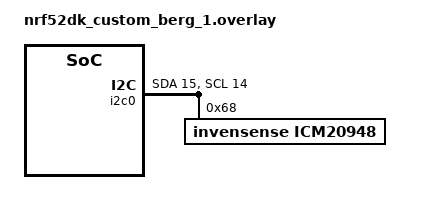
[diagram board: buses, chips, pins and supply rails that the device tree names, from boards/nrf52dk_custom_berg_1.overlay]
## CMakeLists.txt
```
# SPDX-License-Identifier: Apache-2.0

cmake_minimum_required(VERSION 3.13.1)
find_package(Zephyr REQUIRED HINTS $ENV{ZEPHYR_BASE})
project(NONE)

target_sources(app PRIVATE src/main.c)
```

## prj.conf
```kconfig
CONFIG_GPIO=y
CONFIG_CLOCK_CONTROL_NRF_K32SRC_RC=y

CONFIG_I2C=y
CONFIG_SENSOR=y
CONFIG_SENSOR_LOG_LEVEL_DBG=n
CONFIG_ICM20948=y
CONFIG_LOG=y

# choose RTT console
CONFIG_UART_CONSOLE=n
CONFIG_USE_SEGGER_RTT=y
CONFIG_RTT_CONSOLE=y
```

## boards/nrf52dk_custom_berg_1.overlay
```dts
arduino_i2c: &i2c0 {
	compatible = "nordic,nrf-twi";
	status = "okay";
	sda-pin = <15>;
	scl-pin = <14>;
        icm20948@68 {
		compatible = "invensense,icm20948";
		reg = <0x68>;
		label = "ICM20948";
		//alert-gpios = <&gpio1 10 GPIO_ACTIVE_HIGH>;
	};
};
```

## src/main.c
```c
#include <zephyr.h>
#include <device.h>
#include <devicetree.h>
#include <drivers/gpio.h>
#include <drivers/sensor.h>

/* 1000 msec = 1 sec */
#define SLEEP_TIME_MS   1000

/* The devicetree node identifier for the "led0" alias. */
#define LED0_NODE DT_ALIAS(led0)

#if DT_NODE_HAS_STATUS(LED0_NODE, okay)
#define LED0	DT_GPIO_LABEL(LED0_NODE, gpios)
#define PIN	DT_GPIO_PIN(LED0_NODE, gpios)
#define FLAGS	DT_GPIO_FLAGS(LED0_NODE, gpios)
#else
/* A build error here means your board isn't set up to blink an LED. */
#error "Unsupported board: led0 devicetree alias is not defined"
#define LED0	""
#define PIN	0
#define FLAGS	0
#endif

void main(void)
{
	const struct device *dev, *dev2;
	bool led_is_on = false;
	int ret;
        const char *const label = DT_LABEL(DT_INST(0, invensense_icm20948));

	dev = device_get_binding(LED0);
	if (dev == NULL) {
		return;
	}
        printk("Led found\n");

  	ret = gpio_pin_configure(dev, PIN, GPIO_OUTPUT_ACTIVE | FLAGS);
	if (ret < 0) {
		return;
	}
        printk("Led configured\n");

        dev2 = device_get_binding(label);
	if (dev2 == NULL) {
        	led_is_on = true;
	} else {
                printk("Sensor found\n");
        }

        gpio_pin_set(dev, PIN, (int)led_is_on);

        int rc;

	while (1) {
		k_msleep(SLEEP_TIME_MS);
	}
}
```
